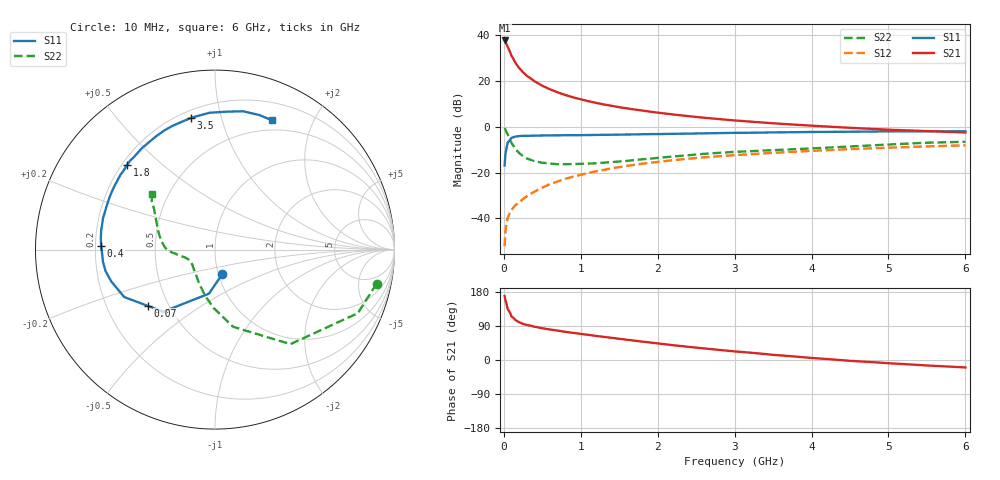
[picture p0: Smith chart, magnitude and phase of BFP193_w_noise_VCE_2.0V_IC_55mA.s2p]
! Infineon Technologies  Discrete & RF Semiconductors
! BFP193
! VCE =  2.0 V,  IC =  55 mA
! Common Emitter S-Parameters:  Jan 2017
# GHz  S  MA  R  50
!  f  S11  S21  S12  S22
! GHz  MAG  ANG  MAG  ANG  MAG  ANG  MAG  ANG
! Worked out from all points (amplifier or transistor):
!   77 points, 10 MHz to 6 GHz, reference 50 ohm
!   highest |S21| = 37.5 dB at 10 MHz (marker M1)
!   |S21| within 3 dB of that: start of sweep to 53.21 MHz
!   unconditionally stable (mu >= 1): 441.5 MHz to 2.493 GHz
!   at 130 MHz: K = 0.68, MSG = 32.0 dB, |S12| = -35.0 dB
!   at 2.2 GHz: K = 1.01, MAG = 9.3 dB, |S12| = -14.7 dB
!   at 6 GHz: K = 0.95, MSG = 2.8 dB, |S12| = -8.2 dB
!   lowest NFmin = 1.60 dB at 450 MHz
!   S11 on the Smith chart (normalised r, x): 10 MHz: 1.05, -0.29; 70 MHz: 0.38, -0.32; 400 MHz: 0.22, +0.01; 1.8 GHz: 0.22, +0.39; 3.5 GHz: 0.24, +0.81; 6 GHz: 0.39, +1.47
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0.01  0.1418 -73.0  74.61 168.7  0.0025 82.4  0.9201 -11.9
0.02  0.2482 -97.9  71.95 158.2  0.0053 80.4  0.8711 -24.0
0.05  0.4503 -129.8  54.24 134.4  0.0103 63.4  0.6739 -51.4
0.07  0.4888 -140.1  45.8 128.6  0.0123 61.4  0.5689 -59.1
0.1  0.5706 -152.4  34.55 114.8  0.0152 59.3  0.4415 -76.8
0.15  0.6048 -163.0  24.38 105.4  0.0195 59.9  0.3253 -91.4
0.2  0.6216 -169.0  18.71 99.6  0.0224 63.6  0.2643 -101.8
0.25  0.6275 -173.6  15.13 95.4  0.0267 64.2  0.2268 -109.7
0.3  0.6287 -176.8  12.68 92.5  0.0305 65.7  0.2023 -116.8
0.4  0.6348 178.2  9.614 87.6  0.0385 67.8  0.176 -126.9
0.5  0.6395 174.0  7.707 83.8  0.047 69.0  0.1631 -134.9
0.7  0.6444 167.3  5.543 77.5  0.0639 69.2  0.1518 -146.1
0.9  0.6482 161.0  4.32 71.6  0.0811 67.9  0.153 -152.9
1.1  0.6537 155.3  3.561 66.3  0.098 65.8  0.1561 -158.1
1.4  0.6633 147.0  2.826 58.5  0.1232 62.6  0.1689 -164.1
1.8  0.6806 136.2  2.228 48.5  0.1557 57.4  0.1938 -169.6
2.1  0.69 128.6  1.916 41.5  0.1777 53.4  0.2154 -173.1
3.1  0.7309 107.3  1.32 21.1  0.2443 40.0  0.286 175.3
3.5  0.7466 100.2  1.178 13.6  0.2679 35.3  0.3068 169.8
4.1  0.7637 90.8  1.022 4.0  0.3012 27.8  0.3405 159.8
5.1  0.7862 77.1  0.842 -9.6  0.3514 16.1  0.4143 145.6
6  0.7875 66.0  0.743 -19.7  0.3908 6.0  0.4659 138.6
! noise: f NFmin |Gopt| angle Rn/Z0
0.45  1.6  0.45  -170  0.09
0.9  1.65  0.47  -163  0.09
1.9  2.29  0.62  -131  0.25
2.4  2.64  0.64  -118  0.51
